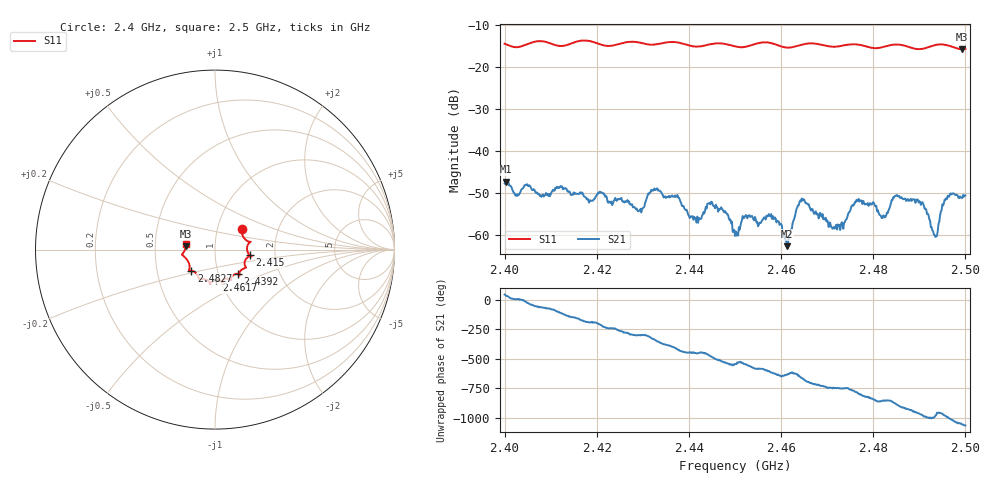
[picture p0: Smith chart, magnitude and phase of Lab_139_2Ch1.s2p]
# Hz S RI R 50
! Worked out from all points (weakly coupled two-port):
!   601 points, 2.4 GHz to 2.5 GHz, reference 50 ohm
!   highest |S21| = -47.27 dB at 2.4003 GHz (marker M1); lowest = -62.6 dB at 2.4613 GHz (marker M2)
!   lowest |S11| = -15.7 dB at 2.4993 GHz (marker M3), VSWR 1.39, Z = 36 + j1.42 ohm
!   |S11| at or under -10 dB: start of sweep to end of sweep
!   S12 and S22 are empty: the file has one direction only
!   S11 on the Smith chart (normalised r, x): 2.4 GHz: 1.31, +0.31; 2.415 GHz: 1.48, -0.10; 2.4392 GHz: 1.24, -0.35; 2.4617 GHz: 0.96, -0.34; 2.4827 GHz: 0.75, -0.18; 2.5 GHz: 0.72, +0.05
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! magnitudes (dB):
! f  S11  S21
! 2.4 GHz  -14.4  -47.7
! 2.4003 GHz  -14.6  -47.3
! 2.415 GHz  -14.2  -49.8
! 2.4167 GHz  -13.7  -50.1
! 2.4293 GHz  -14.2  -54.1
! 2.4333 GHz  -14.5  -49.4
! 2.4392 GHz  -14.6  -53.9
! 2.4448 GHz  -14.5  -52.1
! 2.45 GHz  -15.1  -60.2
! 2.4573 GHz  -14.2  -55.0
! 2.4613 GHz  -15.4  -62.6
! 2.4617 GHz  -15.4  -60.5
! 2.4642 GHz  -14.8  -51.8
! 2.4667 GHz  -14.3  -53.8
! 2.4713 GHz  -15.2  -58.4
! 2.4827 GHz  -15.1  -55.6
! 2.4833 GHz  -14.9  -54.0
! 2.4902 GHz  -15.7  -52.1
! 2.4935 GHz  -14.7  -60.4
! 2.4958 GHz  -14.7  -51.2
! 2.4993 GHz  -15.7  -51.1
! 2.5 GHz  -15.7  -50.5
